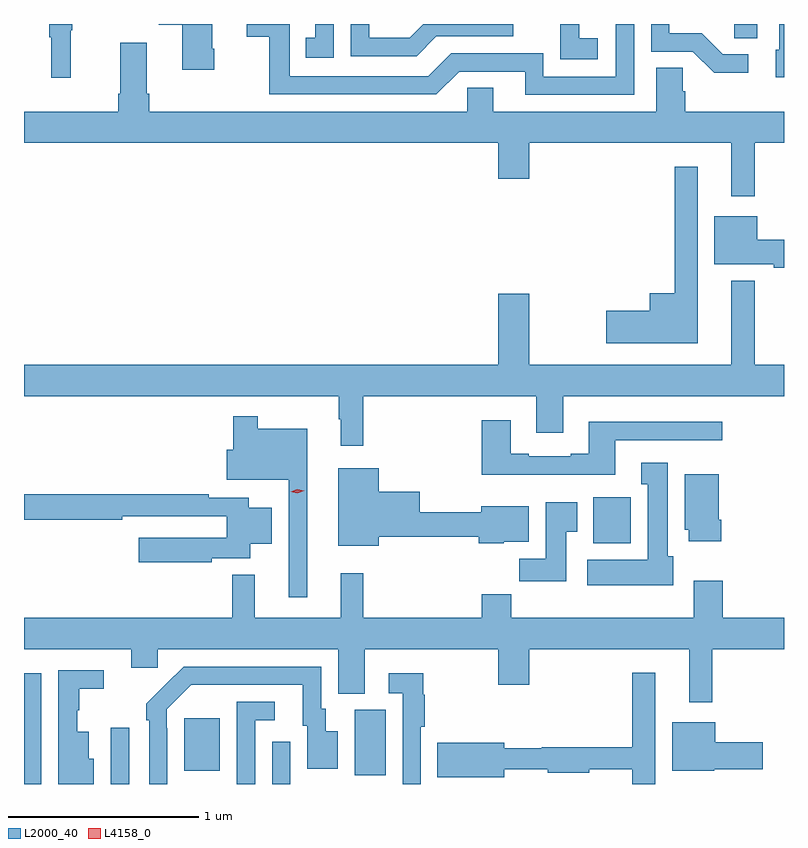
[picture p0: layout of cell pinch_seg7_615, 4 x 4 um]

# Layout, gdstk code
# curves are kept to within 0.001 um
import gdstk
lib = gdstk.Library(unit=1e-6, precision=1e-09)
def R(c, l, rs):  # rectangles x0, y0, x1, y1
    for r in rs: c.add(gdstk.rectangle(r[:2], r[2:], *l))
def P(c, l, *ps):  # polygons
    for p in ps: c.add(gdstk.Polygon(p, *l))
L2000_40 = (2000, 40)
L4158_0 = (4158, 0)

pinch_seg7_615 = lib.new_cell('pinch_seg7_615')
R(pinch_seg7_615, L2000_40, [(114.56,1029.21,114.651,1029.793), (115.017,1029.21,115.113,1029.505), (115.866,1029.21,115.962,1029.433), (116.3,1029.256,116.464,1029.6), (115.403,1029.281,115.591,1029.555), (117.557,1030.478,117.754,1030.72), (118.299,1033.135,118.42,1033.21)])
P(pinch_seg7_615, L2000_40, [(116.731,1033.146),(117.135,1033.146),(117.135,1033.21),(116.662,1033.21),(116.59,1033.138),(116.376,1033.138),(116.376,1033.21),(116.28,1033.21),(116.28,1033.041),(116.626,1033.041)],
  [(117.58,1033.135),(117.482,1033.135),(117.482,1033.21),(117.382,1033.21),(117.382,1033.025),(117.58,1033.025)],
  [(118.372,1033.05),(118.237,1033.05),(118.126,1033.161),(117.957,1033.161),(117.957,1033.21),(117.861,1033.21),(117.861,1033.065),(118.08,1033.065),(118.193,1032.953),(118.372,1032.953)],
  [(114.806,1033.176),(114.814,1033.176),(114.814,1033.21),(114.693,1033.21),(114.693,1033.139),(114.704,1033.139),(114.704,1032.927),(114.806,1032.927)],
  [(118.56,1033.21),(118.536,1033.21),(118.536,1033.074),(118.517,1033.074),(118.517,1032.93),(118.56,1032.93)],
  [(117.771,1033.21),(117.675,1033.21),(117.675,1032.933),(117.294,1032.933),(117.294,1033.056),(116.808,1033.056),(116.688,1032.936),(115.959,1032.936),(115.959,1033.21),(115.733,1033.21),(115.733,1033.143),(115.851,1033.143),(115.851,1032.84),(116.73,1032.84),(116.85,1032.96),(117.197,1032.96),(117.197,1032.837),(117.771,1032.837)],
  [(116.19,1033.21),(116.093,1033.21),(116.093,1033.137),(116.044,1033.137),(116.044,1033.032),(116.19,1033.032)],
  [(115.56,1033.081),(115.552,1033.081),(115.552,1033.21),(115.268,1033.21),(115.268,1033.207),(115.394,1033.207),(115.394,1032.969),(115.56,1032.969)],
  [(118.405,1032.584),(118.56,1032.584),(118.56,1032.748),(118.04,1032.748),(118.04,1032.857),(118.026,1032.857),(118.026,1032.98),(117.887,1032.98),(117.887,1032.748),(117.031,1032.748),(117.031,1032.875),(116.892,1032.875),(116.892,1032.748),(115.22,1032.748),(115.22,1032.844),(115.207,1032.844),(115.207,1033.111),(115.067,1033.111),(115.067,1032.844),(115.055,1032.844),(115.055,1032.748),(114.56,1032.748),(114.56,1032.584),(117.056,1032.584),(117.056,1032.396),(117.22,1032.396),(117.22,1032.584),(118.283,1032.584),(118.283,1032.303),(118.405,1032.303)],
  [(118.105,1032.46),(117.984,1032.46),(117.984,1031.794),(117.854,1031.794),(117.854,1031.702),(117.624,1031.702),(117.624,1031.531),(118.105,1031.531)],
  [(118.56,1032.074),(118.42,1032.074),(118.42,1032.199),(118.193,1032.199),(118.193,1031.945),(118.506,1031.945),(118.506,1031.927),(118.56,1031.927)],
  [(116.345,1031.252),(117.257,1031.252),(117.257,1031.058),(117.397,1031.058),(117.397,1031.252),(118.56,1031.252),(118.56,1031.416),(118.405,1031.416),(118.405,1031.86),(118.283,1031.86),(118.283,1031.416),(117.22,1031.416),(117.22,1031.791),(117.056,1031.791),(117.056,1031.416),(114.56,1031.416),(114.56,1031.252),(116.217,1031.252),(116.217,1031.129),(116.228,1031.129),(116.228,1030.989),(116.345,1030.989)],
  [(116.05,1031.08),(115.789,1031.08),(115.789,1031.146),(115.66,1031.146),(115.66,1030.969),(115.626,1030.969),(115.626,1030.811),(115.953,1030.811),(115.953,1030.194),(116.05,1030.194)],
  [(117.673,1031.019),(118.234,1031.019),(118.234,1031.116),(117.533,1031.116),(117.533,1030.948),(117.437,1030.948),(117.437,1030.935),(117.217,1030.935),(117.217,1030.948),(117.121,1030.948),(117.121,1031.125),(116.969,1031.125),(116.969,1030.838),(117.673,1030.838)],
  [(117.976,1030.41),(117.949,1030.41),(117.949,1030.9),(117.809,1030.9),(117.809,1030.787),(117.842,1030.787),(117.842,1030.39),(117.525,1030.39),(117.525,1030.256),(117.976,1030.256)],
  [(116.428,1030.512),(116.954,1030.512),(116.954,1030.478),(117.084,1030.478),(117.084,1030.484),(117.217,1030.484),(117.217,1030.672),(116.966,1030.672),(116.966,1030.64),(116.644,1030.64),(116.644,1030.747),(116.428,1030.747),(116.428,1030.873),(116.213,1030.873),(116.213,1030.463),(116.428,1030.463)],
  [(118.229,1030.6),(118.216,1030.6),(118.216,1030.84),(118.037,1030.84),(118.037,1030.548),(118.058,1030.548),(118.058,1030.488),(118.229,1030.488)],
  [(115.548,1030.397),(115.75,1030.397),(115.75,1030.475),(115.864,1030.475),(115.864,1030.663),(115.744,1030.663),(115.744,1030.716),(115.532,1030.716),(115.532,1030.736),(114.56,1030.736),(114.56,1030.6),(115.076,1030.6),(115.076,1030.62),(115.628,1030.62),(115.628,1030.507),(115.164,1030.507),(115.164,1030.378),(115.548,1030.378)],
  [(117.415,1030.537),(117.472,1030.537),(117.472,1030.693),(117.305,1030.693),(117.305,1030.396),(117.166,1030.396),(117.166,1030.278),(117.415,1030.278)],
  [(118.183,1029.92),(118.56,1029.92),(118.56,1030.084),(118.238,1030.084),(118.238,1030.279),(118.085,1030.279),(118.085,1030.084),(117.125,1030.084),(117.125,1030.208),(116.969,1030.208),(116.969,1030.084),(116.345,1030.084),(116.345,1030.318),(116.228,1030.318),(116.228,1030.084),(115.775,1030.084),(115.775,1030.312),(115.657,1030.312),(115.657,1030.084),(114.56,1030.084),(114.56,1029.92),(115.124,1029.92),(115.124,1029.822),(115.263,1029.822),(115.263,1029.92),(116.213,1029.92),(116.213,1029.685),(116.353,1029.685),(116.353,1029.92),(117.056,1029.92),(117.056,1029.732),(117.22,1029.732),(117.22,1029.92),(118.061,1029.92),(118.061,1029.639),(118.183,1029.639)],
  [(115.314,1029.503),(115.311,1029.503),(115.311,1029.603),(115.44,1029.732),(116.027,1029.732),(116.027,1029.516),(116.051,1029.516),(116.051,1029.291),(116.212,1029.291),(116.212,1029.487),(116.149,1029.487),(116.149,1029.606),(116.124,1029.606),(116.124,1029.828),(115.4,1029.828),(115.203,1029.633),(115.203,1029.545),(115.218,1029.545),(115.218,1029.21),(115.314,1029.21)],
  [(114.928,1029.342),(114.901,1029.342),(114.901,1029.484),(114.839,1029.484),(114.839,1029.599),(114.85,1029.599),(114.85,1029.712),(114.979,1029.712),(114.979,1029.81),(114.741,1029.81),(114.741,1029.342),(114.74,1029.342),(114.74,1029.21),(114.928,1029.21)],
  [(117.883,1029.796),(117.762,1029.796),(117.762,1029.404),(117.284,1029.404),(117.284,1029.397),(117.088,1029.397),(117.088,1029.428),(116.736,1029.428),(116.736,1029.245),(117.088,1029.245),(117.088,1029.287),(117.316,1029.287),(117.316,1029.268),(117.536,1029.268),(117.536,1029.287),(117.762,1029.287),(117.762,1029.21),(117.883,1029.21)],
  [(116.649,1029.511),(116.669,1029.511),(116.669,1029.68),(116.662,1029.68),(116.662,1029.793),(116.481,1029.793),(116.481,1029.687),(116.553,1029.687),(116.553,1029.21),(116.649,1029.21)],
  [(115.776,1029.546),(115.879,1029.546),(115.879,1029.642),(115.68,1029.642),(115.68,1029.21),(115.776,1029.21)],
  [(118.194,1029.287),(118.447,1029.287),(118.447,1029.429),(118.198,1029.429),(118.198,1029.535),(117.971,1029.535),(117.971,1029.281),(118.194,1029.281)])
P(pinch_seg7_615, L4158_0, [(115.999,1030.741),(115.964,1030.748),(115.963,1030.749),(115.964,1030.749),(115.998,1030.761),(116.034,1030.753),(116.034,1030.753),(116.034,1030.753)])

lib.write_gds('pinch_seg7_615.gds')
